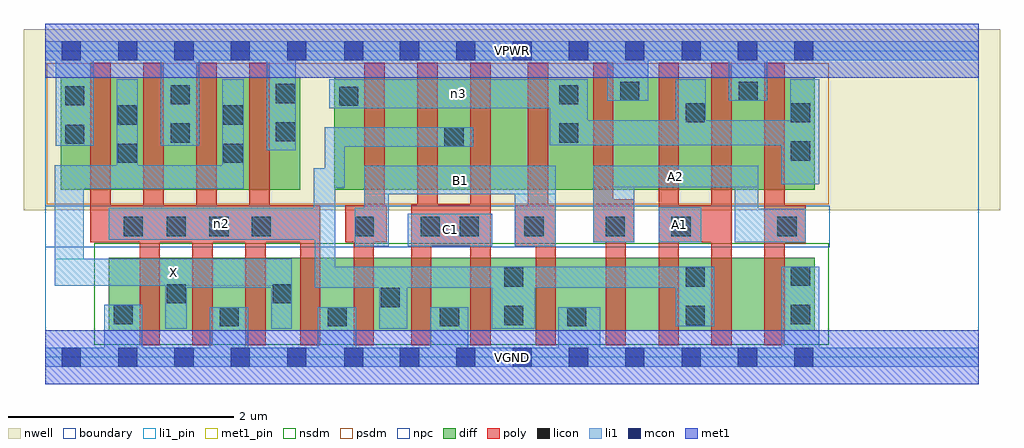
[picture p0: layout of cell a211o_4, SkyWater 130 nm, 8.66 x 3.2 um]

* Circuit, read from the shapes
.subckt a211o_4 A1 A2 B1 C1 VGND VPWR X n2 n3
XM1 X n2 VGND VSUBS sky130_fd_pr__nfet_01v8 w=0.65 l=0.18 m=4
XM2 n2 B1 VGND VSUBS sky130_fd_pr__nfet_01v8 w=0.65 l=0.18 m=2
XM3 VGND C1 n2 VSUBS sky130_fd_pr__nfet_01v8 w=0.65 l=0.18 m=2
XM4 n1 A2 VGND VSUBS sky130_fd_pr__nfet_01v8 w=0.65 l=0.18
XM5 n2 A1 n1 VSUBS sky130_fd_pr__nfet_01v8 w=0.65 l=0.18
XM6 n4 A1 n2 VSUBS sky130_fd_pr__nfet_01v8 w=0.65 l=0.18
XM7 VGND A2 n4 VSUBS sky130_fd_pr__nfet_01v8 w=0.65 l=0.18
XM8 X n2 VPWR n5 sky130_fd_pr__pfet_01v8 w=1 l=0.18 m=4
XM9 n6 B1 n3 n5 sky130_fd_pr__pfet_01v8 w=1 l=0.18
XM10 n2 C1 n6 n5 sky130_fd_pr__pfet_01v8 w=1 l=0.18
XM11 n7 C1 n2 n5 sky130_fd_pr__pfet_01v8 w=1 l=0.18
XM12 n3 B1 n7 n5 sky130_fd_pr__pfet_01v8 w=1 l=0.18
XM13 VPWR A2 n3 n5 sky130_fd_pr__pfet_01v8 w=1 l=0.18 m=2
XM14 n3 A1 VPWR n5 sky130_fd_pr__pfet_01v8 w=1 l=0.18 m=2
.ends

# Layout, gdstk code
import gdstk
lib = gdstk.Library(unit=1e-6, precision=1e-09)
def R(c, l, rs):  # rectangles x0, y0, x1, y1
    for r in rs: c.add(gdstk.rectangle(r[:2], r[2:], *l))
def A(c, l, x, y, w, h, nx, ny, dx, dy):  # array of equal rectangles
    R(c, l, [(x+i*dx, y+j*dy, x+i*dx+w, y+j*dy+h) for i in range(nx) for j in range(ny)])
nwell = (64, 20)
diff = (65, 20)
poly = (66, 20)
licon = (66, 44)
li1_pin = (67, 16)
li1 = (67, 20)
mcon = (67, 44)
met1_pin = (68, 16)
met1 = (68, 20)
nsdm = (93, 44)
psdm = (94, 20)
npc = (95, 20)
boundary = (235, 4)

a211o_4 = lib.new_cell('a211o_4')
R(a211o_4, nwell, [(-0.19,1.305,8.47,2.91), (0,1.305,8.28,2.91)])
R(a211o_4, diff, [(0.56,0.235,6.825,0.885), (0.135,1.485,2.26,2.485), (2.565,1.485,6.825,2.485)])
A(a211o_4, poly, 0.835, 0.105, 0.18, 1.245, 3, 1, 0.47, 0)
A(a211o_4, poly, 5.44, 0.105, 0.18, 2.51, 3, 1, 0.47, 0)
A(a211o_4, poly, 0.4, 1.02, 0.18, 1.595, 4, 1, 0.47, 0)
R(a211o_4, poly, [(2.26,0.105,2.44,1.35), (2.735,0.105,2.915,1.35), (3.245,0.105,3.425,1.355), (3.77,0.105,3.95,2.615), (4.35,0.105,4.53,1.35), (4.97,0.105,5.15,1.4), (4.165,0.985,4.53,1.35), (4.28,0.985,4.46,2.615), (3.245,0.99,3.95,1.355), (3.3,0.99,3.48,2.615), (6.38,1.01,6.745,1.35), (0.4,1.02,2.44,1.35), (2.66,1.02,3.03,1.35), (2.83,1.02,3.01,2.615), (4.86,1.02,5.04,2.615), (4.86,1.02,5.225,1.4), (5.44,1.02,6.09,1.35)])
A(a211o_4, licon, 0.695, 1.075, 0.17, 0.17, 3, 1, 0.38, 0)
R(a211o_4, licon, [(1.545,0.275,1.715,0.445), (2.505,0.275,2.675,0.445), (3.5,0.275,3.67,0.445), (4.63,0.275,4.8,0.445), (4.07,0.285,4.24,0.455), (5.68,0.285,5.85,0.455), (0.605,0.295,0.775,0.465), (6.615,0.295,6.785,0.465), (2.975,0.445,3.145,0.615), (1.075,0.48,1.245,0.65), (2.015,0.48,2.185,0.65), (4.07,0.625,4.24,0.795), (5.68,0.625,5.85,0.795), (6.615,0.635,6.785,0.805), (1.83,1.075,2,1.245), (2.745,1.075,2.915,1.245), (3.33,1.075,3.5,1.245), (3.675,1.075,3.845,1.245), (4.25,1.075,4.42,1.245), (4.97,1.075,5.14,1.245), (5.555,1.075,5.725,1.245), (6.495,1.075,6.665,1.245), (0.64,1.725,0.81,1.895), (1.58,1.725,1.75,1.895), (6.615,1.745,6.785,1.915), (3.54,1.87,3.71,2.04), (0.175,1.895,0.345,2.065), (1.11,1.905,1.28,2.075), (4.56,1.905,4.73,2.075), (2.045,1.915,2.215,2.085), (0.64,2.065,0.81,2.235), (1.58,2.065,1.75,2.235), (5.68,2.085,5.85,2.255), (6.615,2.085,6.785,2.255), (2.605,2.23,2.775,2.4), (0.175,2.235,0.345,2.405), (1.11,2.245,1.28,2.415), (4.56,2.245,4.73,2.415), (2.045,2.255,2.215,2.425), (5.1,2.275,5.27,2.445), (6.15,2.275,6.32,2.445)])
R(a211o_4, li1_pin, [(0.085,0.635,2.185,0.875), (3.215,0.985,3.965,1.275), (5.44,1.02,5.82,1.33), (2.83,1.445,4.53,1.7), (4.86,1.51,6.325,1.7)])
R(a211o_4, li1, [(0,-0.085,8.28,0.085), (0.52,-0.085,0.86,0.465), (1.46,-0.085,1.8,0.445), (2.415,-0.085,2.76,0.445), (3.415,-0.085,3.75,0.445), (4.55,-0.085,4.925,0.445), (6.53,-0.085,6.865,0.805), (1.065,0.255,1.255,0.875), (2.005,0.255,2.185,0.875), (2.96,0.255,3.21,0.805), (3.96,0.255,4.345,0.805), (5.595,0.275,5.935,0.805), (1.065,0.615,2.185,0.875), (2.39,0.615,5.935,0.805), (2.39,0.615,2.57,1.675), (0.085,0.635,2.185,0.875), (0.085,0.635,0.34,1.705), (2.745,0.985,3.045,1.325), (2.83,0.985,3.045,1.7), (3.215,0.985,3.965,1.275), (4.165,0.985,4.53,1.7), (4.86,1.02,5.225,1.7), (5.44,1.02,5.82,1.33), (6.115,1.02,6.745,1.32), (6.115,1.02,6.325,1.7), (0.56,1.045,2.57,1.325), (2.38,1.045,2.57,1.675), (2.83,1.445,4.53,1.7), (0.085,1.495,1.76,1.705), (0.635,1.495,0.82,2.465), (1.57,1.495,1.76,2.465), (2.48,1.505,2.655,2.04), (4.86,1.51,6.325,1.7), (6.53,1.535,6.865,2.105), (6.61,1.535,6.865,2.465), (1.965,1.835,2.22,2.805), (2.48,1.87,3.795,2.04), (0.09,1.875,0.43,2.805), (1.025,1.875,1.365,2.805), (4.475,1.88,6.865,2.105), (4.475,1.88,4.81,2.465), (5.595,1.88,5.86,2.465), (2.52,2.21,4.81,2.465), (4.985,2.275,5.35,2.805), (6.065,2.275,6.405,2.805), (0,2.635,8.28,2.805)])
A(a211o_4, mcon, 0.145, -0.085, 0.17, 0.17, 5, 2, 0.5, 2.72)
A(a211o_4, mcon, 3.145, -0.085, 0.17, 0.17, 8, 2, 0.5, 2.72)
R(a211o_4, mcon, [(2.65,-0.085,2.82,0.085), (2.65,2.635,2.82,2.805)])
R(a211o_4, met1_pin, [(0,-0.24,8.28,0.24), (0,2.48,8.28,2.96)])
R(a211o_4, met1, [(0,-0.24,8.28,0.24), (0,2.48,8.28,2.96)])
R(a211o_4, nsdm, [(0.435,0.11,6.95,1.01)])
R(a211o_4, psdm, [(0.01,1.36,6.95,2.61)])
R(a211o_4, npc, [(0,0.975,6.96,1.345)])
R(a211o_4, boundary, [(0,0,8.28,2.72)])
a211o_4.add(gdstk.Label('A1', (5.63,1.175), layer=67, texttype=5))
a211o_4.add(gdstk.Label('A2', (5.592,1.605), layer=67, texttype=5))
a211o_4.add(gdstk.Label('B1', (3.68,1.572), layer=67, texttype=5))
a211o_4.add(gdstk.Label('C1', (3.59,1.13), layer=67, texttype=5))
a211o_4.add(gdstk.Label('X', (1.135,0.755), layer=67, texttype=5))
a211o_4.add(gdstk.Label('n2', (1.565,1.185), layer=67, texttype=5))
a211o_4.add(gdstk.Label('n3', (3.665,2.337), layer=67, texttype=5))
a211o_4.add(gdstk.Label('VPWR', (4.14,2.72), layer=68, texttype=5))
a211o_4.add(gdstk.Label('VGND', (4.14,0), layer=68, texttype=5))
a211o_4.add(gdstk.Label('A1', (5.63,1.175), layer=67, texttype=16))
a211o_4.add(gdstk.Label('A2', (5.592,1.605), layer=67, texttype=16))
a211o_4.add(gdstk.Label('B1', (3.68,1.572), layer=67, texttype=16))
a211o_4.add(gdstk.Label('C1', (3.59,1.13), layer=67, texttype=16))
a211o_4.add(gdstk.Label('X', (1.135,0.755), layer=67, texttype=16))
a211o_4.add(gdstk.Label('VPWR', (4.14,2.72), layer=68, texttype=16))
a211o_4.add(gdstk.Label('VGND', (4.14,0), layer=68, texttype=16))

lib.write_gds('a211o_4.gds')
